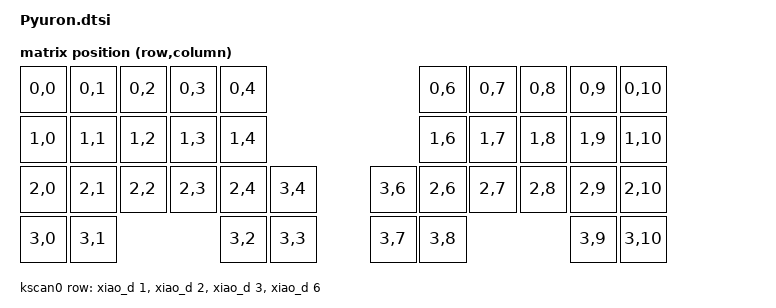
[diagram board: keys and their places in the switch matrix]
#include <dt-bindings/zmk/matrix_transform.h>
#include <dt-bindings/zmk/input_transform.h>
#include <dt-bindings/input/input-event-codes.h>
#include <dt-bindings/zmk/bt.h>
#include <input/processors.dtsi>
#include <physical_layouts.dtsi>

/ {
    chosen {
        zmk,physical-layout = &default_layout;
    };

//trackball settings  
split_inputs {
      #address-cells = <1>;
      #size-cells = <0>;

      trackball_split_L: trackball_split_L@0 {
        compatible = "zmk,input-split";
        reg = <0>;
      };
    };

    trackball_listener_L: trackball_listener_L {
      compatible = "zmk,input-listener";
      status = "disabled";
      device = <&trackball_split_L>;
        input-processors =
            <&zip_xy_transform (INPUT_TRANSFORM_XY_SWAP | INPUT_TRANSFORM_X_INVERT | INPUT_TRANSFORM_Y_INVERT)>,
            <&zip_xy_scaler 1 16>,
            <&zip_scroll_scaler 1 5>,
            <&zip_xy_to_scroll_mapper>;
    };

    trackball_listener_R: trackball_listener_R {
      compatible = "zmk,input-listener";
      status = "disabled";
        input-processors =
            <&zip_xy_transform (INPUT_TRANSFORM_XY_SWAP | INPUT_TRANSFORM_Y_INVERT)>;
    };

    kscan0: kscan {
        compatible = "zmk,kscan-gpio-matrix";
        label = "KSCAN";
        diode-direction = "col2row";
        wakeup-source;
            row-gpios
                = <&xiao_d 1 (GPIO_ACTIVE_HIGH | GPIO_PULL_DOWN)> 
                , <&xiao_d 2 (GPIO_ACTIVE_HIGH | GPIO_PULL_DOWN)> 
                , <&xiao_d 3 (GPIO_ACTIVE_HIGH | GPIO_PULL_DOWN)> 
                , <&xiao_d 6 (GPIO_ACTIVE_HIGH | GPIO_PULL_DOWN)> 			
                ;
    };

    default_transform: keymap_transform_0 {
        compatible = "zmk,matrix-transform";
        columns = <11>;
        rows = <4>;               
        map = <
            RC(0,0) RC(0,1) RC(0,2) RC(0,3) RC(0,4)                     RC(0,6) RC(0,7) RC(0,8) RC(0,9) RC(0,10)
            RC(1,0) RC(1,1) RC(1,2) RC(1,3) RC(1,4)                     RC(1,6) RC(1,7) RC(1,8) RC(1,9) RC(1,10)
            RC(2,0) RC(2,1) RC(2,2) RC(2,3) RC(2,4) RC(3,4)     RC(3,6) RC(2,6) RC(2,7) RC(2,8) RC(2,9) RC(2,10)
            RC(3,0) RC(3,1)                 RC(3,2) RC(3,3)     RC(3,7) RC(3,8)                 RC(3,9) RC(3,10)
        >;
    };

        default_layout: default_layout {
        compatible = "zmk,physical-layout";
        display-name = "Default";

        kscan = <&kscan0>;
        transform = <&default_transform>;

        keys  //                     w   h    x    y     rot    rx    ry
            = <&key_physical_attrs 100 100    0    0       0     0     0>
            , <&key_physical_attrs 100 100  100    0       0     0     0>
            , <&key_physical_attrs 100 100  200    0       0     0     0>
            , <&key_physical_attrs 100 100  300    0       0     0     0>
            , <&key_physical_attrs 100 100  400    0       0     0     0>
            , <&key_physical_attrs 100 100  800    0       0     0     0>
            , <&key_physical_attrs 100 100  900    0       0     0     0>
            , <&key_physical_attrs 100 100 1000    0       0     0     0>
            , <&key_physical_attrs 100 100 1100    0       0     0     0>
            , <&key_physical_attrs 100 100 1200    0       0     0     0>
            , <&key_physical_attrs 100 100    0  100       0     0     0>
            , <&key_physical_attrs 100 100  100  100       0     0     0>
            , <&key_physical_attrs 100 100  200  100       0     0     0>
            , <&key_physical_attrs 100 100  300  100       0     0     0>
            , <&key_physical_attrs 100 100  400  100       0     0     0>
            , <&key_physical_attrs 100 100  800  100       0     0     0>
            , <&key_physical_attrs 100 100  900  100       0     0     0>
            , <&key_physical_attrs 100 100 1000  100       0     0     0>
            , <&key_physical_attrs 100 100 1100  100       0     0     0>
            , <&key_physical_attrs 100 100 1200  100       0     0     0>
            , <&key_physical_attrs 100 100    0  200       0     0     0>
            , <&key_physical_attrs 100 100  100  200       0     0     0>
            , <&key_physical_attrs 100 100  200  200       0     0     0>
            , <&key_physical_attrs 100 100  300  200       0     0     0>
            , <&key_physical_attrs 100 100  400  200       0     0     0>
            , <&key_physical_attrs 100 100  500  200       0     0     0>
            , <&key_physical_attrs 100 100  700  200       0     0     0>
            , <&key_physical_attrs 100 100  800  200       0     0     0>
            , <&key_physical_attrs 100 100  900  200       0     0     0>
            , <&key_physical_attrs 100 100 1000  200       0     0     0>
            , <&key_physical_attrs 100 100 1100  200       0     0     0>
            , <&key_physical_attrs 100 100 1200  200       0     0     0>
            , <&key_physical_attrs 100 100    0  300       0     0     0>
            , <&key_physical_attrs 100 100  100  300       0     0     0>
            , <&key_physical_attrs 100 100  400  300       0     0     0>
            , <&key_physical_attrs 100 100  500  300       0     0     0>
            , <&key_physical_attrs 100 100  700  300       0     0     0>
            , <&key_physical_attrs 100 100  800  300       0     0     0>
            , <&key_physical_attrs 100 100 1100  300       0     0     0>
            , <&key_physical_attrs 100 100 1200  300       0     0     0>
            ;
    };
};
